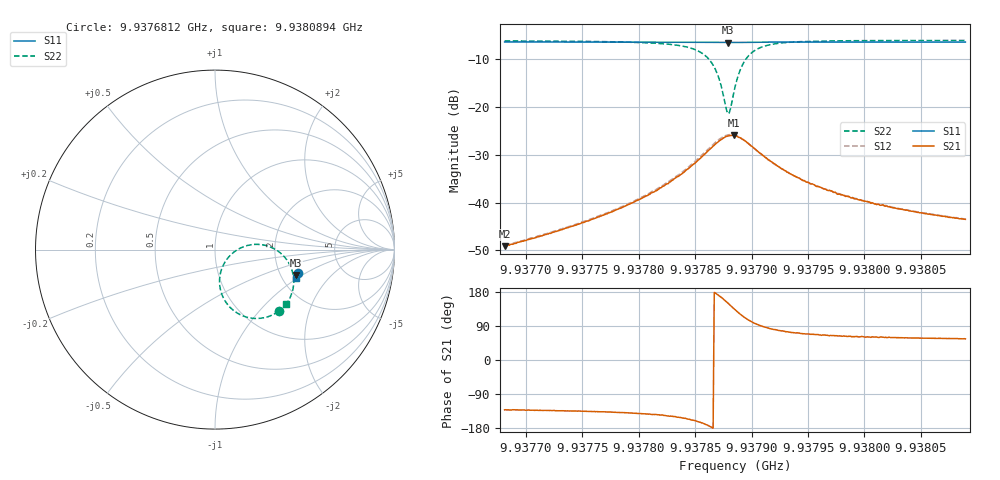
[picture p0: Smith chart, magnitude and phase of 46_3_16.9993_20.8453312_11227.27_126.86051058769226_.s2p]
#  HZ  S  RI  R  50.00
! Rohde & Schwarz Vector Network Analyzer
! Rohde-Schwarz,ZNB20-2Port,1311601062101988,3.16
! Created: UTC 3/20/2024, 10:54:07 PM
! freq[Hz]  re:S11  im:S11  re:S21  im:S21  re:S12  im:S12  re:S22  im:S22
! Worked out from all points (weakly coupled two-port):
!   401 points, 9.9376812 GHz to 9.9380894 GHz, reference 50 ohm
!   highest |S21| = -25.92 dB at 9.9378843 GHz (marker M1); lowest = -49.1 dB at 9.9376812 GHz (marker M2)
!   lowest |S11| = -6.5 dB at 9.9378792 GHz (marker M3), VSWR 2.81, Z = 121 - j44.4 ohm
!   |S11| at or under -10 dB: nowhere
!   |S22| runs from -21.4 to -6.0 dB; largest |S21 - S12| = 0.0035
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9.93768122e9  0.4637 -0.131  -0.00232 -0.00262  -0.00239 -0.00266  0.355 -0.3431
9.93774959e9  0.4617 -0.1358  -0.00437 -0.00436  -0.0045 -0.00437  0.3329 -0.3573
9.93779142e9  0.4603 -0.139  -0.00729 -0.00622  -0.00759 -0.00627  0.3041 -0.371
9.93781795e9  0.4592 -0.1409  -0.0113 -0.00806  -0.0119 -0.00807  0.2667 -0.3809
9.9378455e9  0.4575 -0.1431  -0.0216 -0.00922  -0.0227 -0.00905  0.1787 -0.3769
9.93786081e9  0.4555 -0.1438  -0.0339 -0.00497  -0.0355 -0.00367  0.0825 -0.3205
9.93786591e9  0.4547 -0.1438  -0.0391 -0.000111  -0.0407 0.00155  0.0479 -0.2714
9.93786999e9  0.4541 -0.1433  -0.0425 0.0058  -0.0439 0.00817  0.0288 -0.2157
9.93787714e9  0.4534 -0.1422  -0.0446 0.0206  -0.0445 0.0239  0.0441 -0.0907
9.93787918e9  0.4532 -0.1417  -0.0432 0.0251  -0.0426 0.0286  0.0645 -0.0558
9.93788122e9  0.4535 -0.1414  -0.0408 0.0297  -0.0398 0.033  0.0922 -0.0251
9.93788428e9  0.4539 -0.1408  -0.0361 0.0354  -0.0342 0.038  0.1426 0.00908
9.9378853e9  0.4538 -0.1406  -0.034 0.0369  -0.0322 0.0394  0.1612 0.0168
9.93788836e9  0.4546 -0.1402  -0.0276 0.0398  -0.0254 0.0421  0.2166 0.029
9.93789244e9  0.4554 -0.1403  -0.0193 0.0416  -0.0171 0.0426  0.284 0.0228
9.93789754e9  0.4563 -0.1405  -0.0106 0.0398  -0.00873 0.0402  0.3478 -0.00616
9.93790367e9  0.4572 -0.1412  -0.00346 0.0358  -0.00187 0.0359  0.3948 -0.0499
9.93792509e9  0.4579 -0.1438  0.00498 0.0228  0.00568 0.0226  0.4383 -0.1651
9.93795367e9  0.4575 -0.1467  0.00595 0.0146  0.00629 0.0145  0.4311 -0.2321
9.93797714e9  0.457 -0.1485  0.00548 0.011  0.00574 0.0111  0.4219 -0.2591
9.93802203e9  0.4558 -0.1519  0.00451 0.0079  0.00484 0.00774  0.4083 -0.286
9.93808938e9  0.4539 -0.1564  0.00376 0.00553  0.00386 0.00553  0.3952 -0.3053
